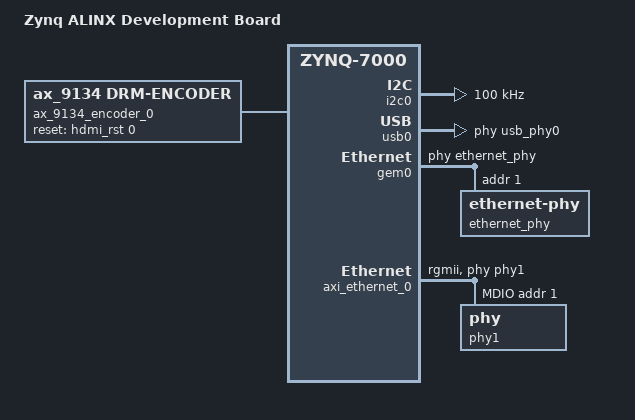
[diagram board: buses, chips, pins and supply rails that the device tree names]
/include/ "system-conf.dtsi"

/ {
	model = "Zynq ALINX Development Board";
	compatible = "alinx,zynq", "xlnx,zynq-7000";
	aliases {
		ethernet0 = "&gem0";
		ethernet1 = "&axi_ethernet_0";
		serial0 = "&uart1";
	};

	usb_phy0: usb_phy@0 {
		compatible = "ulpi-phy";
		#phy-cells = <0>;
		reg = <0xe0002000 0x1000>;
		view-port = <0x0170>;
		drv-vbus;
	};


};

&i2c0 {
	clock-frequency = <100000>;
};

&usb0 {	
	usb-phy = <&usb_phy0>;
};

&sdhci0 {
	u-boot,dm-pre-reloc;
};

&uart1 {
	u-boot,dm-pre-reloc;
};


&flash0 {
	compatible = "micron,m25p80", "w25q256", "spi-flash";
};


&gem0 {
	phy-handle = <&ethernet_phy>;
	ethernet_phy: ethernet-phy@1 {
		reg = <1>;
		device_type = "ethernet-phy";
	};
};

&axi_ethernet_0 {
	local-mac-address = [00 0a 35 00 03 22];  
 	phy-handle = <&phy1>; 
 	xlnx,has-mdio = <0x1>;  
 	phy-mode = "rgmii";  
 	mdio {  
		phy1: phy@1 {  
			device_type = "ethernet-phy";  
			reg = <1>;  
		};
	};		
};

&amba_pl {

	ax_9134_encoder_0:ax_9134_encoder {
		compatible = "ax_9134,drm-encoder";
		ax_9134,edid-i2c = <&i2c0>;
		ax_9134,reset-gpios = <&hdmi_rst 0 0>;
	};

	xilinx_drm {
		compatible = "xlnx,drm";
		xlnx,vtc = <&v_tc_0>;
		xlnx,connector-type = "HDMIA";
		xlnx,encoder-slave = <&ax_9134_encoder_0>;
		clocks = <&axi_dynclk_0>;
		planes {
			xlnx,pixel-format = "rgb888";
			plane0 {
				dmas = <&axi_vdma_0 0>;
				dma-names = "dma";
			};
		};
	};
};
&axi_dynclk_0 {
	compatible = "digilent,axi-dynclk";
	#clock-cells = <0>;
	clocks = <&clkc 15>;
};
&v_tc_0 {
	compatible = "xlnx,v-tc-5.01.a";
};

